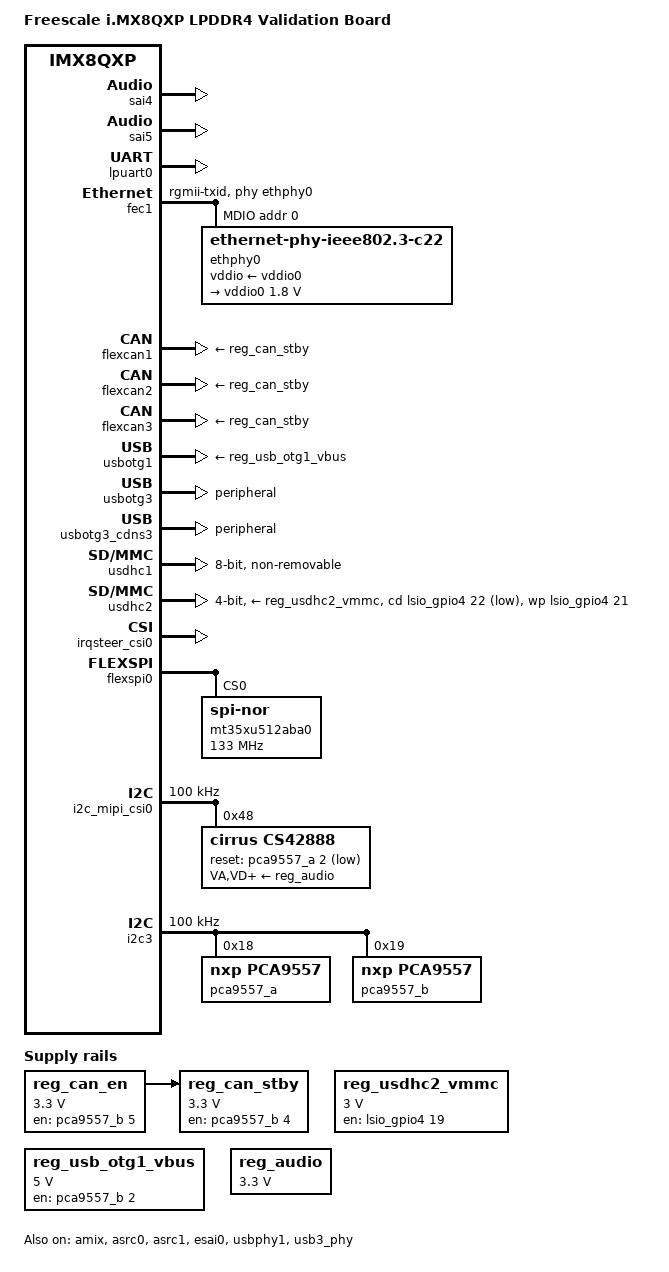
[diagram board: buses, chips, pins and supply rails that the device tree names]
// SPDX-License-Identifier: GPL-2.0+
/*
 * Copyright 2017~2018 NXP
 */

/dts-v1/;

#include <dt-bindings/usb/pd.h>
#include "imx8qxp.dtsi"

/ {
	model = "Freescale i.MX8QXP LPDDR4 Validation Board";
	compatible = "fsl,imx8qxp-lpddr4-val", "fsl,imx8qxp";

	chosen {
		stdout-path = &lpuart0;
	};

	reserved-memory {
		#address-cells = <2>;
		#size-cells = <2>;
		ranges;

		decoder_boot: decoder-boot@84000000 {
			reg = <0 0x84000000 0 0x2000000>;
			no-map;
		};

		encoder_boot: encoder-boot@86000000 {
			reg = <0 0x86000000 0 0x200000>;
			no-map;
		};

		decoder_rpc: decoder-rpc@92000000 {
			reg = <0 0x92000000 0 0x100000>;
			no-map;
		};

		encoder_rpc: encoder-rpc@92200000 {
			reg = <0 0x92200000 0 0x200000>;
			no-map;
		};

		encoder_reserved: encoder_reserved@94400000 {
			no-map;
			reg = <0 0x94400000 0 0x800000>;
		};

		/* global autoconfigured region for contiguous allocations */
		linux,cma {
			compatible = "shared-dma-pool";
			reusable;
			size = <0 0x3c000000>;
			alloc-ranges = <0 0xc0000000 0 0x3c000000>;
			linux,cma-default;
		};
	};

	reg_can_en: regulator-can-en {
		compatible = "regulator-fixed";
		regulator-name = "can-en";
		regulator-min-microvolt = <3300000>;
		regulator-max-microvolt = <3300000>;
		gpio = <&pca9557_b 5 GPIO_ACTIVE_HIGH>;
		enable-active-high;
	};

	reg_can_stby: regulator-can-stby {
		compatible = "regulator-fixed";
		regulator-name = "can-stby";
		regulator-min-microvolt = <3300000>;
		regulator-max-microvolt = <3300000>;
		gpio = <&pca9557_b 4 GPIO_ACTIVE_HIGH>;
		enable-active-high;
		vin-supply = <&reg_can_en>;
	};

	reg_usdhc2_vmmc: usdhc2-vmmc {
		compatible = "regulator-fixed";
		regulator-name = "SD1_SPWR";
		regulator-min-microvolt = <3000000>;
		regulator-max-microvolt = <3000000>;
		gpio = <&lsio_gpio4 19 GPIO_ACTIVE_HIGH>;
		enable-active-high;
	};

	reg_usb_otg1_vbus: regulator-usbotg1-vbus {
		compatible = "regulator-fixed";
		regulator-name = "usb_otg1_vbus";
		regulator-min-microvolt = <5000000>;
		regulator-max-microvolt = <5000000>;
		gpio = <&pca9557_b 2 GPIO_ACTIVE_HIGH>;
		enable-active-high;
	};

	reg_audio: fixedregulator-2 {
		compatible = "regulator-fixed";
		regulator-name = "cs42888_supply";
		regulator-min-microvolt = <3300000>;
		regulator-max-microvolt = <3300000>;
		regulator-always-on;
	};

	sound-cs42888 {
		compatible = "fsl,imx8qm-sabreauto-cs42888",
				"fsl,imx-audio-cs42888";
		model = "imx-cs42888";
		audio-cpu = <&esai0>;
		audio-codec = <&cs42888>;
		audio-asrc = <&asrc0>;
		audio-routing =
			"Line Out Jack", "AOUT1L",
			"Line Out Jack", "AOUT1R",
			"Line Out Jack", "AOUT2L",
			"Line Out Jack", "AOUT2R",
			"Line Out Jack", "AOUT3L",
			"Line Out Jack", "AOUT3R",
			"Line Out Jack", "AOUT4L",
			"Line Out Jack", "AOUT4R",
			"AIN1L", "Line In Jack",
			"AIN1R", "Line In Jack",
			"AIN2L", "Line In Jack",
			"AIN2R", "Line In Jack";
		status = "okay";
	};
};

&amix {
	status = "okay";
};

&asrc0 {
	fsl,asrc-rate  = <48000>;
	status = "okay";
};

&asrc1 {
	fsl,asrc-rate = <48000>;
	status = "okay";
};

&esai0 {
	pinctrl-names = "default";
	pinctrl-0 = <&pinctrl_esai0>;
	assigned-clocks = <&acm IMX_ADMA_ACM_ESAI0_MCLK_SEL>,
			<&clk IMX_SC_R_AUDIO_PLL_0 IMX_SC_PM_CLK_PLL>,
			<&clk IMX_SC_R_AUDIO_PLL_0 IMX_SC_PM_CLK_SLV_BUS>,
			<&clk IMX_SC_R_AUDIO_PLL_0 IMX_SC_PM_CLK_MST_BUS>,
			<&esai0_lpcg 0>;
	assigned-clock-parents = <&aud_pll_div0_lpcg 0>;
	assigned-clock-rates = <0>, <786432000>, <49152000>, <24576000>, <49152000>;
	status = "okay";
};

&sai4 {
	assigned-clocks = <&acm IMX_ADMA_ACM_SAI4_MCLK_SEL>,
			<&clk IMX_SC_R_AUDIO_PLL_1 IMX_SC_PM_CLK_PLL>,
			<&clk IMX_SC_R_AUDIO_PLL_1 IMX_SC_PM_CLK_SLV_BUS>,
			<&clk IMX_SC_R_AUDIO_PLL_1 IMX_SC_PM_CLK_MST_BUS>,
			<&sai4_lpcg 0>;
	assigned-clock-parents = <&aud_pll_div1_lpcg 0>;
	assigned-clock-rates = <0>, <786432000>, <98304000>, <24576000>, <98304000>;
	fsl,sai-asynchronous;
	fsl,txm-rxs;
	status = "okay";
};

&sai5 {
	assigned-clocks = <&acm IMX_ADMA_ACM_SAI5_MCLK_SEL>,
			<&clk IMX_SC_R_AUDIO_PLL_1 IMX_SC_PM_CLK_PLL>,
			<&clk IMX_SC_R_AUDIO_PLL_1 IMX_SC_PM_CLK_SLV_BUS>,
			<&clk IMX_SC_R_AUDIO_PLL_1 IMX_SC_PM_CLK_MST_BUS>,
			<&sai5_lpcg 0>;
	assigned-clock-parents = <&aud_pll_div1_lpcg 0>;
	assigned-clock-rates = <0>, <786432000>, <98304000>, <24576000>, <98304000>;
	fsl,sai-asynchronous;
	fsl,txm-rxs;
	status = "okay";
};

&lpuart0 {
	pinctrl-names = "default";
	pinctrl-0 = <&pinctrl_lpuart0>;
	status = "okay";
};

&fec1 {
	pinctrl-names = "default";
	pinctrl-0 = <&pinctrl_fec1>;
	phy-mode = "rgmii-txid";
	phy-handle = <&ethphy0>;
	fsl,magic-packet;
	nvmem-cells = <&fec_mac0>;
	nvmem-cell-names = "mac-address";
	rx-internal-delay-ps = <2000>;
	status = "okay";

	mdio {
		#address-cells = <1>;
		#size-cells = <0>;

		ethphy0: ethernet-phy@0 {
			compatible = "ethernet-phy-ieee802.3-c22";
			reg = <0>;
			qca,disable-smarteee;
			vddio-supply = <&vddio0>;

			vddio0: vddio-regulator {
				regulator-min-microvolt = <1800000>;
				regulator-max-microvolt = <1800000>;
			};
		};

		ethphy1: ethernet-phy@1 {
			compatible = "ethernet-phy-ieee802.3-c22";
			reg = <1>;
			qca,disable-smarteee;
			vddio-supply = <&vddio1>;
			status = "disabled";

			vddio1: vddio-regulator {
				regulator-min-microvolt = <1800000>;
				regulator-max-microvolt = <1800000>;
			};
		};
	};
};

&flexcan1 {
	pinctrl-names = "default";
	pinctrl-0 = <&pinctrl_flexcan1>;
	xceiver-supply = <&reg_can_stby>;
	status = "okay";
};

&flexcan2 {
	pinctrl-names = "default";
	pinctrl-0 = <&pinctrl_flexcan2>;
	xceiver-supply = <&reg_can_stby>;
	status = "okay";
};

&flexcan3 {
	pinctrl-names = "default";
	pinctrl-0 = <&pinctrl_flexcan3>;
	xceiver-supply = <&reg_can_stby>;
	status = "okay";
};

&usbphy1 {
	status = "okay";
};

&usbotg1 {
	vbus-supply = <&reg_usb_otg1_vbus>;
	srp-disable;
	hnp-disable;
	adp-disable;
	power-active-high;
	disable-over-current;
	status = "okay";
};

&usb3_phy {
	status = "okay";
};

&usbotg3 {
	dr_mode = "peripheral";
	status = "okay";
};

&usbotg3_cdns3 {
	dr_mode = "peripheral";
	status = "okay";
};

&usdhc1 {
	pinctrl-names = "default", "state_100mhz", "state_200mhz";
	pinctrl-0 = <&pinctrl_usdhc1>;
	pinctrl-1 = <&pinctrl_usdhc1>;
	pinctrl-2 = <&pinctrl_usdhc1>;
	bus-width = <8>;
	no-sd;
	no-sdio;
	non-removable;
	status = "okay";
};

&usdhc2 {
	pinctrl-names = "default", "state_100mhz", "state_200mhz";
	pinctrl-0 = <&pinctrl_usdhc2>, <&pinctrl_usdhc2_gpio>;
	pinctrl-1 = <&pinctrl_usdhc2>, <&pinctrl_usdhc2_gpio>;
	pinctrl-2 = <&pinctrl_usdhc2>, <&pinctrl_usdhc2_gpio>;
	bus-width = <4>;
	vmmc-supply = <&reg_usdhc2_vmmc>;
	cd-gpios = <&lsio_gpio4 22 GPIO_ACTIVE_LOW>;
	wp-gpios = <&lsio_gpio4 21 GPIO_ACTIVE_HIGH>;
	status = "okay";
};

&thermal_zones {
	pmic-thermal0 {
		polling-delay-passive = <250>;
		polling-delay = <2000>;
		thermal-sensors = <&tsens 497>;
		trips {
			pmic_alert0: trip0 {
				temperature = <110000>;
				hysteresis = <2000>;
				type = "passive";
			};
			pmic_crit0: trip1 {
				temperature = <125000>;
				hysteresis = <2000>;
				type = "critical";
			};
		};
		cooling-maps {
			map0 {
				trip = <&pmic_alert0>;
				cooling-device =
					<&A35_0 THERMAL_NO_LIMIT THERMAL_NO_LIMIT>;
			};
		};
	};
};

&irqsteer_csi0 {
	status = "okay";
};

&flexspi0 {
	pinctrl-names = "default";
	pinctrl-0 = <&pinctrl_flexspi0>;
	status = "okay";

	mt35xu512aba0:flash@0 {
		reg = <0>;
		compatible = "jedec,spi-nor";
		spi-max-frequency = <133000000>;
		spi-nor,ddr-quad-read-dummy = <8>;
	};
};

&i2c_mipi_csi0 {
	#address-cells = <1>;
	#size-cells = <0>;
	pinctrl-names = "default";
	pinctrl-0 = <&pinctrl_i2c_mipi_csi0>;
	clock-frequency = <100000>;
	status = "okay";

	cs42888: cs42888@48 {
		compatible = "cirrus,cs42888";
		reg = <0x48>;
		clocks = <&mclkout0_lpcg 0>;
		clock-names = "mclk";
		VA-supply = <&reg_audio>;
		VD-supply = <&reg_audio>;
		VLS-supply = <&reg_audio>;
		VLC-supply = <&reg_audio>;
		reset-gpio = <&pca9557_a 2 GPIO_ACTIVE_LOW>;
		assigned-clocks = <&clk IMX_SC_R_AUDIO_PLL_0 IMX_SC_PM_CLK_PLL>,
				<&clk IMX_SC_R_AUDIO_PLL_0 IMX_SC_PM_CLK_SLV_BUS>,
				<&clk IMX_SC_R_AUDIO_PLL_0 IMX_SC_PM_CLK_MST_BUS>,
				<&mclkout0_lpcg 0>;
		assigned-clock-rates = <786432000>, <49152000>, <24576000>, <24576000>;
	};
};

&i2c3 {
	#address-cells = <1>;
	#size-cells = <0>;
	clock-frequency = <100000>;
	pinctrl-names = "default";
	pinctrl-0 = <&pinctrl_lpi2c3>;
	status = "okay";

	pca9557_a: gpio@18 {
		compatible = "nxp,pca9557";
		reg = <0x18>;
		gpio-controller;
		#gpio-cells = <2>;
	};

	pca9557_b: gpio@19 {
		compatible = "nxp,pca9557";
		reg = <0x19>;
		gpio-controller;
		#gpio-cells = <2>;
	};
};

&iomuxc {
	pinctrl-names = "default";

	pinctrl_i2c_mipi_csi0: i2c_mipi_csi0 {
		fsl,pins = <
			IMX8QXP_MIPI_CSI0_I2C0_SCL_MIPI_CSI0_I2C0_SCL		0xc2000020
			IMX8QXP_MIPI_CSI0_I2C0_SDA_MIPI_CSI0_I2C0_SDA		0xc2000020
		>;
	};

	pinctrl_esai0: esai0grp {
		fsl,pins = <
			IMX8QXP_ESAI0_FSR_ADMA_ESAI0_FSR			0xc6000040
			IMX8QXP_ESAI0_FST_ADMA_ESAI0_FST			0xc6000040
			IMX8QXP_ESAI0_SCKR_ADMA_ESAI0_SCKR			0xc6000040
			IMX8QXP_ESAI0_SCKT_ADMA_ESAI0_SCKT			0xc6000040
			IMX8QXP_ESAI0_TX0_ADMA_ESAI0_TX0			0xc6000040
			IMX8QXP_ESAI0_TX1_ADMA_ESAI0_TX1			0xc6000040
			IMX8QXP_ESAI0_TX2_RX3_ADMA_ESAI0_TX2_RX3		0xc6000040
			IMX8QXP_ESAI0_TX3_RX2_ADMA_ESAI0_TX3_RX2		0xc6000040
			IMX8QXP_ESAI0_TX4_RX1_ADMA_ESAI0_TX4_RX1		0xc6000040
			IMX8QXP_ESAI0_TX5_RX0_ADMA_ESAI0_TX5_RX0		0xc6000040
			IMX8QXP_MCLK_OUT0_ADMA_ACM_MCLK_OUT0			0xc6000040
		>;
	};

	pinctrl_fec1: fec1grp {
		fsl,pins = <
			IMX8QXP_COMP_CTL_GPIO_1V8_3V3_ENET_ENETB0_PAD		0x000014a0
			IMX8QXP_COMP_CTL_GPIO_1V8_3V3_ENET_ENETB1_PAD		0x000014a0
			IMX8QXP_ENET0_MDC_CONN_ENET0_MDC			0x06000020
			IMX8QXP_ENET0_MDIO_CONN_ENET0_MDIO			0x06000020
			IMX8QXP_ENET0_RGMII_TX_CTL_CONN_ENET0_RGMII_TX_CTL	0x06000020
			IMX8QXP_ENET0_RGMII_TXC_CONN_ENET0_RGMII_TXC		0x06000020
			IMX8QXP_ENET0_RGMII_TXD0_CONN_ENET0_RGMII_TXD0		0x06000020
			IMX8QXP_ENET0_RGMII_TXD1_CONN_ENET0_RGMII_TXD1		0x06000020
			IMX8QXP_ENET0_RGMII_TXD2_CONN_ENET0_RGMII_TXD2		0x06000020
			IMX8QXP_ENET0_RGMII_TXD3_CONN_ENET0_RGMII_TXD3		0x06000020
			IMX8QXP_ENET0_RGMII_RXC_CONN_ENET0_RGMII_RXC		0x06000020
			IMX8QXP_ENET0_RGMII_RX_CTL_CONN_ENET0_RGMII_RX_CTL	0x06000020
			IMX8QXP_ENET0_RGMII_RXD0_CONN_ENET0_RGMII_RXD0		0x06000020
			IMX8QXP_ENET0_RGMII_RXD1_CONN_ENET0_RGMII_RXD1		0x06000020
			IMX8QXP_ENET0_RGMII_RXD2_CONN_ENET0_RGMII_RXD2		0x06000020
			IMX8QXP_ENET0_RGMII_RXD3_CONN_ENET0_RGMII_RXD3		0x06000020
		>;
	};

	pinctrl_flexcan1: flexcan1grp {
		fsl,pins = <
			IMX8QXP_FLEXCAN0_TX_ADMA_FLEXCAN0_TX		0x21
			IMX8QXP_FLEXCAN0_RX_ADMA_FLEXCAN0_RX		0x21
		>;
	};

	pinctrl_flexcan2: flexcan2grp {
		fsl,pins = <
			IMX8QXP_FLEXCAN1_TX_ADMA_FLEXCAN1_TX		0x21
			IMX8QXP_FLEXCAN1_RX_ADMA_FLEXCAN1_RX		0x21
		>;
	};

	pinctrl_flexcan3: flexcan3grp {
		fsl,pins = <
			IMX8QXP_FLEXCAN2_TX_ADMA_FLEXCAN2_TX		0x21
			IMX8QXP_FLEXCAN2_RX_ADMA_FLEXCAN2_RX		0x21
		>;
	};

	pinctrl_flexspi0: flexspi0grp {
		fsl,pins = <
			IMX8QXP_QSPI0A_DATA0_LSIO_QSPI0A_DATA0			0x06000021
			IMX8QXP_QSPI0A_DATA1_LSIO_QSPI0A_DATA1			0x06000021
			IMX8QXP_QSPI0A_DATA2_LSIO_QSPI0A_DATA2			0x06000021
			IMX8QXP_QSPI0A_DATA3_LSIO_QSPI0A_DATA3			0x06000021
			IMX8QXP_QSPI0A_DQS_LSIO_QSPI0A_DQS			0x06000021
			IMX8QXP_QSPI0A_SS0_B_LSIO_QSPI0A_SS0_B			0x06000021
			IMX8QXP_QSPI0A_SS1_B_LSIO_QSPI0A_SS1_B			0x06000021
			IMX8QXP_QSPI0A_SCLK_LSIO_QSPI0A_SCLK			0x06000021
			IMX8QXP_QSPI0B_SCLK_LSIO_QSPI0B_SCLK			0x06000021
			IMX8QXP_QSPI0B_DATA0_LSIO_QSPI0B_DATA0			0x06000021
			IMX8QXP_QSPI0B_DATA1_LSIO_QSPI0B_DATA1			0x06000021
			IMX8QXP_QSPI0B_DATA2_LSIO_QSPI0B_DATA2			0x06000021
			IMX8QXP_QSPI0B_DATA3_LSIO_QSPI0B_DATA3			0x06000021
			IMX8QXP_QSPI0B_DQS_LSIO_QSPI0B_DQS			0x06000021
			IMX8QXP_QSPI0B_SS0_B_LSIO_QSPI0B_SS0_B			0x06000021
			IMX8QXP_QSPI0B_SS1_B_LSIO_QSPI0B_SS1_B			0x06000021
	>;
};

	pinctrl_lpi2c3: lpi2cgrp {
		fsl,pins = <
			IMX8QXP_SPI3_CS1_ADMA_I2C3_SCL				0x06000020
			IMX8QXP_MCLK_IN1_ADMA_I2C3_SDA				0x06000020
		>;
	};

	pinctrl_lpuart0: lpuart0grp {
		fsl,pins = <
			IMX8QXP_UART0_RX_ADMA_UART0_RX				0x06000020
			IMX8QXP_UART0_TX_ADMA_UART0_TX				0x06000020
		>;
	};

	pinctrl_usdhc1: usdhc1grp {
		fsl,pins = <
			IMX8QXP_EMMC0_CLK_CONN_EMMC0_CLK			0x06000041
			IMX8QXP_EMMC0_CMD_CONN_EMMC0_CMD			0x00000021
			IMX8QXP_EMMC0_DATA0_CONN_EMMC0_DATA0			0x00000021
			IMX8QXP_EMMC0_DATA1_CONN_EMMC0_DATA1			0x00000021
			IMX8QXP_EMMC0_DATA2_CONN_EMMC0_DATA2			0x00000021
			IMX8QXP_EMMC0_DATA3_CONN_EMMC0_DATA3			0x00000021
			IMX8QXP_EMMC0_DATA4_CONN_EMMC0_DATA4			0x00000021
			IMX8QXP_EMMC0_DATA5_CONN_EMMC0_DATA5			0x00000021
			IMX8QXP_EMMC0_DATA6_CONN_EMMC0_DATA6			0x00000021
			IMX8QXP_EMMC0_DATA7_CONN_EMMC0_DATA7			0x00000021
			IMX8QXP_EMMC0_STROBE_CONN_EMMC0_STROBE			0x00000041
		>;
	};

	pinctrl_usdhc2_gpio: usdhc2gpiogrp {
		fsl,pins = <
			IMX8QXP_USDHC1_RESET_B_LSIO_GPIO4_IO19     0x00000021
			IMX8QXP_USDHC1_WP_LSIO_GPIO4_IO21          0x00000021
			IMX8QXP_USDHC1_CD_B_LSIO_GPIO4_IO22        0x00000021
		>;
	};


	pinctrl_usdhc2: usdhc2grp {
		fsl,pins = <
			IMX8QXP_USDHC1_CLK_CONN_USDHC1_CLK			0x06000041
			IMX8QXP_USDHC1_CMD_CONN_USDHC1_CMD			0x00000021
			IMX8QXP_USDHC1_DATA0_CONN_USDHC1_DATA0			0x00000021
			IMX8QXP_USDHC1_DATA1_CONN_USDHC1_DATA1			0x00000021
			IMX8QXP_USDHC1_DATA2_CONN_USDHC1_DATA2			0x00000021
			IMX8QXP_USDHC1_DATA3_CONN_USDHC1_DATA3			0x00000021
			IMX8QXP_USDHC1_VSELECT_CONN_USDHC1_VSELECT		0x00000021
		>;
	};
};
